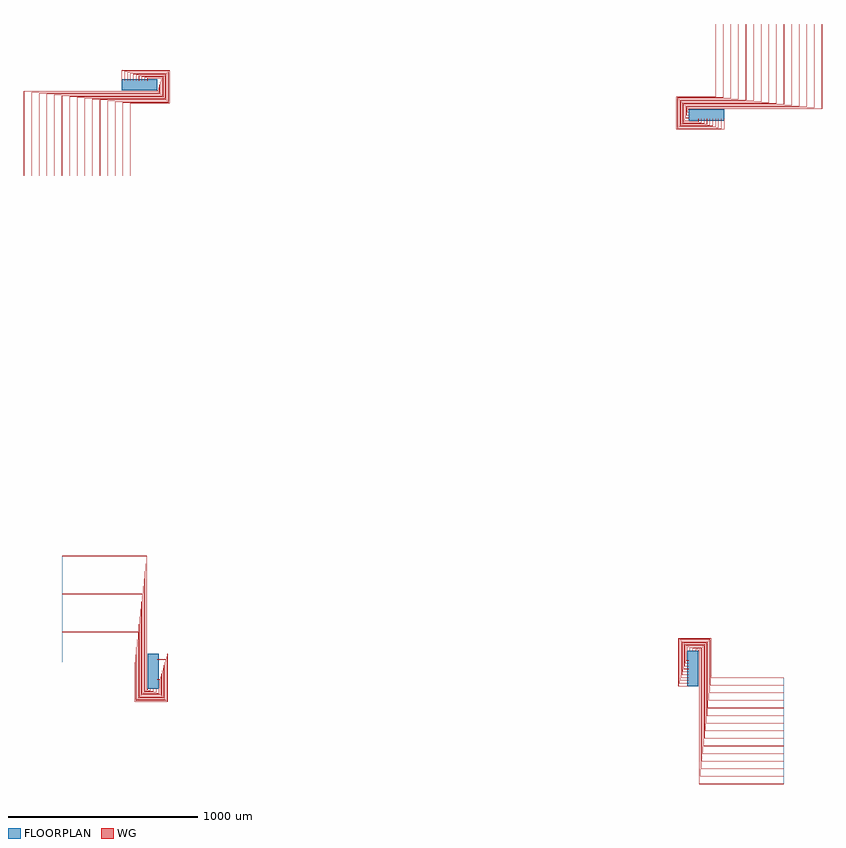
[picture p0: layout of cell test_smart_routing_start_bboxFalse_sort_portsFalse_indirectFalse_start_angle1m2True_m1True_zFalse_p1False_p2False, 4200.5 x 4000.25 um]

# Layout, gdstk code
import gdstk
lib = gdstk.Library(unit=1e-6, precision=1e-09)
def R(c, l, rs):  # rectangles x0, y0, x1, y1
    for r in rs: c.add(gdstk.rectangle(r[:2], r[2:], *l))
def P(c, l, *ps):  # polygons
    for p in ps: c.add(gdstk.Polygon(p, *l))
WG = (1, 0)
FLOORPLAN = (10, 0)

test_smart_routing_start = lib.new_cell('test_smart_routing_start_bboxFalse_sort_portsFalse_indirectFalse_start_angle1m2True_m1True_zFalse_p1False_p2False')
P(test_smart_routing_start, WG, [(45.25,-104.5),(45.25,599.75),(-400,599.75),(-400,600.25),(45.75,600.25),(45.75,-104),(49.75,-104),(49.75,-100),(50.25,-100),(50.25,-104.5)],
  [(40.75,-109),(40.75,559.75),(-400,559.75),(-400,560.25),(41.25,560.25),(41.25,-108.5),(64.75,-108.5),(64.75,-100),(65.25,-100),(65.25,-109)],
  [(36.25,-113.5),(36.25,519.75),(-400,519.75),(-400,520.25),(36.75,520.25),(36.75,-113),(79.75,-113),(79.75,-100),(80.25,-100),(80.25,-113.5)],
  [(31.75,-118),(31.75,479.75),(-400,479.75),(-400,480.25),(32.25,480.25),(32.25,-117.5),(94.75,-117.5),(94.75,-100),(95.25,-100),(95.25,-118)],
  [(27.25,-122.5),(27.25,439.75),(-400,439.75),(-400,440.25),(27.75,440.25),(27.75,-122),(109.75,-122),(109.75,-100),(110.25,-100),(110.25,-122.5)],
  [(22.75,-127),(22.75,399.75),(-400,399.75),(-400,400.25),(23.25,400.25),(23.25,-126.5),(114.25,-126.5),(114.25,-50.25),(100,-50.25),(100,-49.75),(114.75,-49.75),(114.75,-127)],
  [(18.25,-131.5),(18.25,359.75),(-400,359.75),(-400,360.25),(18.75,360.25),(18.75,-131),(118.75,-131),(118.75,-35.25),(100,-35.25),(100,-34.75),(119.25,-34.75),(119.25,-131.5)],
  [(13.75,-136),(13.75,319.75),(-400,319.75),(-400,320.25),(14.25,320.25),(14.25,-135.5),(123.25,-135.5),(123.25,-20.25),(100,-20.25),(100,-19.75),(123.75,-19.75),(123.75,-136)],
  [(9.25,-140.5),(9.25,279.75),(-400,279.75),(-400,280.25),(9.75,280.25),(9.75,-140),(127.75,-140),(127.75,-5.25),(100,-5.25),(100,-4.75),(128.25,-4.75),(128.25,-140.5)],
  [(4.75,-145),(4.75,239.75),(-400,239.75),(-400,240.25),(5.25,240.25),(5.25,-144.5),(132.25,-144.5),(132.25,9.75),(100,9.75),(100,10.25),(132.75,10.25),(132.75,-145)],
  [(0.25,-149.5),(0.25,199.75),(-400,199.75),(-400,200.25),(0.75,200.25),(0.75,-149),(136.75,-149),(136.75,24.75),(100,24.75),(100,25.25),(137.25,25.25),(137.25,-149.5)],
  [(-4.25,-154),(-4.25,159.75),(-400,159.75),(-400,160.25),(-3.75,160.25),(-3.75,-153.5),(141.25,-153.5),(141.25,39.75),(100,39.75),(100,40.25),(141.75,40.25),(141.75,-154)],
  [(-8.75,-158.5),(-8.75,119.75),(-400,119.75),(-400,120.25),(-8.25,120.25),(-8.25,-158),(145.75,-158),(145.75,54.75),(100,54.75),(100,55.25),(146.25,55.25),(146.25,-158.5)],
  [(-13.25,-163),(-13.25,79.75),(-400,79.75),(-400,80.25),(-12.75,80.25),(-12.75,-162.5),(150.25,-162.5),(150.25,69.75),(100,69.75),(100,70.25),(150.75,70.25),(150.75,-163)],
  [(-17.75,-167.5),(-17.75,39.75),(-400,39.75),(-400,40.25),(-17.25,40.25),(-17.25,-167),(154.75,-167),(154.75,84.75),(100,84.75),(100,85.25),(155.25,85.25),(155.25,-167.5)],
  [(-600.25,2600),(-600.25,3045.75),(104,3045.75),(104,3049.75),(100,3049.75),(100,3050.25),(104.5,3050.25),(104.5,3045.25),(-599.75,3045.25),(-599.75,2600)],
  [(-560.25,2600),(-560.25,3041.25),(108.5,3041.25),(108.5,3064.75),(100,3064.75),(100,3065.25),(109,3065.25),(109,3040.75),(-559.75,3040.75),(-559.75,2600)],
  [(-520.25,2600),(-520.25,3036.75),(113,3036.75),(113,3079.75),(100,3079.75),(100,3080.25),(113.5,3080.25),(113.5,3036.25),(-519.75,3036.25),(-519.75,2600)],
  [(-480.25,2600),(-480.25,3032.25),(117.5,3032.25),(117.5,3094.75),(100,3094.75),(100,3095.25),(118,3095.25),(118,3031.75),(-479.75,3031.75),(-479.75,2600)],
  [(-440.25,2600),(-440.25,3027.75),(122,3027.75),(122,3109.75),(100,3109.75),(100,3110.25),(122.5,3110.25),(122.5,3027.25),(-439.75,3027.25),(-439.75,2600)],
  [(-400.25,2600),(-400.25,3023.25),(126.5,3023.25),(126.5,3114.25),(50.25,3114.25),(50.25,3100),(49.75,3100),(49.75,3114.75),(127,3114.75),(127,3022.75),(-399.75,3022.75),(-399.75,2600)],
  [(-360.25,2600),(-360.25,3018.75),(131,3018.75),(131,3118.75),(35.25,3118.75),(35.25,3100),(34.75,3100),(34.75,3119.25),(131.5,3119.25),(131.5,3018.25),(-359.75,3018.25),(-359.75,2600)],
  [(-320.25,2600),(-320.25,3014.25),(135.5,3014.25),(135.5,3123.25),(20.25,3123.25),(20.25,3100),(19.75,3100),(19.75,3123.75),(136,3123.75),(136,3013.75),(-319.75,3013.75),(-319.75,2600)],
  [(-280.25,2600),(-280.25,3009.75),(140,3009.75),(140,3127.75),(5.25,3127.75),(5.25,3100),(4.75,3100),(4.75,3128.25),(140.5,3128.25),(140.5,3009.25),(-279.75,3009.25),(-279.75,2600)],
  [(-240.25,2600),(-240.25,3005.25),(144.5,3005.25),(144.5,3132.25),(-9.75,3132.25),(-9.75,3100),(-10.25,3100),(-10.25,3132.75),(145,3132.75),(145,3004.75),(-239.75,3004.75),(-239.75,2600)],
  [(-200.25,2600),(-200.25,3000.75),(149,3000.75),(149,3136.75),(-24.75,3136.75),(-24.75,3100),(-25.25,3100),(-25.25,3137.25),(149.5,3137.25),(149.5,3000.25),(-199.75,3000.25),(-199.75,2600)],
  [(-160.25,2600),(-160.25,2996.25),(153.5,2996.25),(153.5,3141.25),(-39.75,3141.25),(-39.75,3100),(-40.25,3100),(-40.25,3141.75),(154,3141.75),(154,2995.75),(-159.75,2995.75),(-159.75,2600)],
  [(-120.25,2600),(-120.25,2991.75),(158,2991.75),(158,3145.75),(-54.75,3145.75),(-54.75,3100),(-55.25,3100),(-55.25,3146.25),(158.5,3146.25),(158.5,2991.25),(-119.75,2991.25),(-119.75,2600)],
  [(-80.25,2600),(-80.25,2987.25),(162.5,2987.25),(162.5,3150.25),(-69.75,3150.25),(-69.75,3100),(-70.25,3100),(-70.25,3150.75),(163,3150.75),(163,2986.75),(-79.75,2986.75),(-79.75,2600)],
  [(-40.25,2600),(-40.25,2982.75),(167,2982.75),(167,3154.75),(-84.75,3154.75),(-84.75,3100),(-85.25,3100),(-85.25,3155.25),(167.5,3155.25),(167.5,2982.25),(-39.75,2982.25),(-39.75,2600)],
  [(2954.25,-600.25),(2954.25,104),(2950.25,104),(2950.25,100),(2949.75,100),(2949.75,104.5),(2954.75,104.5),(2954.75,-599.75),(3400,-599.75),(3400,-600.25)],
  [(2958.75,-560.25),(2958.75,108.5),(2935.25,108.5),(2935.25,100),(2934.75,100),(2934.75,109),(2959.25,109),(2959.25,-559.75),(3400,-559.75),(3400,-560.25)],
  [(2963.25,-520.25),(2963.25,113),(2920.25,113),(2920.25,100),(2919.75,100),(2919.75,113.5),(2963.75,113.5),(2963.75,-519.75),(3400,-519.75),(3400,-520.25)],
  [(2967.75,-480.25),(2967.75,117.5),(2905.25,117.5),(2905.25,100),(2904.75,100),(2904.75,118),(2968.25,118),(2968.25,-479.75),(3400,-479.75),(3400,-480.25)],
  [(2972.25,-440.25),(2972.25,122),(2890.25,122),(2890.25,100),(2889.75,100),(2889.75,122.5),(2972.75,122.5),(2972.75,-439.75),(3400,-439.75),(3400,-440.25)],
  [(2976.75,-400.25),(2976.75,126.5),(2885.75,126.5),(2885.75,50.25),(2900,50.25),(2900,49.75),(2885.25,49.75),(2885.25,127),(2977.25,127),(2977.25,-399.75),(3400,-399.75),(3400,-400.25)],
  [(2981.25,-360.25),(2981.25,131),(2881.25,131),(2881.25,35.25),(2900,35.25),(2900,34.75),(2880.75,34.75),(2880.75,131.5),(2981.75,131.5),(2981.75,-359.75),(3400,-359.75),(3400,-360.25)],
  [(2985.75,-320.25),(2985.75,135.5),(2876.75,135.5),(2876.75,20.25),(2900,20.25),(2900,19.75),(2876.25,19.75),(2876.25,136),(2986.25,136),(2986.25,-319.75),(3400,-319.75),(3400,-320.25)],
  [(2990.25,-280.25),(2990.25,140),(2872.25,140),(2872.25,5.25),(2900,5.25),(2900,4.75),(2871.75,4.75),(2871.75,140.5),(2990.75,140.5),(2990.75,-279.75),(3400,-279.75),(3400,-280.25)],
  [(2994.75,-240.25),(2994.75,144.5),(2867.75,144.5),(2867.75,-9.75),(2900,-9.75),(2900,-10.25),(2867.25,-10.25),(2867.25,145),(2995.25,145),(2995.25,-239.75),(3400,-239.75),(3400,-240.25)],
  [(2999.25,-200.25),(2999.25,149),(2863.25,149),(2863.25,-24.75),(2900,-24.75),(2900,-25.25),(2862.75,-25.25),(2862.75,149.5),(2999.75,149.5),(2999.75,-199.75),(3400,-199.75),(3400,-200.25)],
  [(3003.75,-160.25),(3003.75,153.5),(2858.75,153.5),(2858.75,-39.75),(2900,-39.75),(2900,-40.25),(2858.25,-40.25),(2858.25,154),(3004.25,154),(3004.25,-159.75),(3400,-159.75),(3400,-160.25)],
  [(3008.25,-120.25),(3008.25,158),(2854.25,158),(2854.25,-54.75),(2900,-54.75),(2900,-55.25),(2853.75,-55.25),(2853.75,158.5),(3008.75,158.5),(3008.75,-119.75),(3400,-119.75),(3400,-120.25)],
  [(3012.75,-80.25),(3012.75,162.5),(2849.75,162.5),(2849.75,-69.75),(2900,-69.75),(2900,-70.25),(2849.25,-70.25),(2849.25,163),(3013.25,163),(3013.25,-79.75),(3400,-79.75),(3400,-80.25)],
  [(2844.75,-85.25),(2844.75,167.5),(3017.75,167.5),(3017.75,-39.75),(3400,-39.75),(3400,-40.25),(3017.25,-40.25),(3017.25,167),(2845.25,167),(2845.25,-84.75),(2900,-84.75),(2900,-85.25)],
  [(2895.5,2949.75),(2895.5,2954.75),(3599.75,2954.75),(3599.75,3400),(3600.25,3400),(3600.25,2954.25),(2896,2954.25),(2896,2950.25),(2900,2950.25),(2900,2949.75)],
  [(2891,2934.75),(2891,2959.25),(3559.75,2959.25),(3559.75,3400),(3560.25,3400),(3560.25,2958.75),(2891.5,2958.75),(2891.5,2935.25),(2900,2935.25),(2900,2934.75)],
  [(2886.5,2919.75),(2886.5,2963.75),(3519.75,2963.75),(3519.75,3400),(3520.25,3400),(3520.25,2963.25),(2887,2963.25),(2887,2920.25),(2900,2920.25),(2900,2919.75)],
  [(2882,2904.75),(2882,2968.25),(3479.75,2968.25),(3479.75,3400),(3480.25,3400),(3480.25,2967.75),(2882.5,2967.75),(2882.5,2905.25),(2900,2905.25),(2900,2904.75)],
  [(2877.5,2889.75),(2877.5,2972.75),(3439.75,2972.75),(3439.75,3400),(3440.25,3400),(3440.25,2972.25),(2878,2972.25),(2878,2890.25),(2900,2890.25),(2900,2889.75)],
  [(2873,2885.25),(2873,2977.25),(3399.75,2977.25),(3399.75,3400),(3400.25,3400),(3400.25,2976.75),(2873.5,2976.75),(2873.5,2885.75),(2949.75,2885.75),(2949.75,2900),(2950.25,2900),(2950.25,2885.25)],
  [(2868.5,2880.75),(2868.5,2981.75),(3359.75,2981.75),(3359.75,3400),(3360.25,3400),(3360.25,2981.25),(2869,2981.25),(2869,2881.25),(2964.75,2881.25),(2964.75,2900),(2965.25,2900),(2965.25,2880.75)],
  [(2864,2876.25),(2864,2986.25),(3319.75,2986.25),(3319.75,3400),(3320.25,3400),(3320.25,2985.75),(2864.5,2985.75),(2864.5,2876.75),(2979.75,2876.75),(2979.75,2900),(2980.25,2900),(2980.25,2876.25)],
  [(2859.5,2871.75),(2859.5,2990.75),(3279.75,2990.75),(3279.75,3400),(3280.25,3400),(3280.25,2990.25),(2860,2990.25),(2860,2872.25),(2994.75,2872.25),(2994.75,2900),(2995.25,2900),(2995.25,2871.75)],
  [(2855,2867.25),(2855,2995.25),(3239.75,2995.25),(3239.75,3400),(3240.25,3400),(3240.25,2994.75),(2855.5,2994.75),(2855.5,2867.75),(3009.75,2867.75),(3009.75,2900),(3010.25,2900),(3010.25,2867.25)],
  [(2850.5,2862.75),(2850.5,2999.75),(3199.75,2999.75),(3199.75,3400),(3200.25,3400),(3200.25,2999.25),(2851,2999.25),(2851,2863.25),(3024.75,2863.25),(3024.75,2900),(3025.25,2900),(3025.25,2862.75)],
  [(2846,2858.25),(2846,3004.25),(3159.75,3004.25),(3159.75,3400),(3160.25,3400),(3160.25,3003.75),(2846.5,3003.75),(2846.5,2858.75),(3039.75,2858.75),(3039.75,2900),(3040.25,2900),(3040.25,2858.25)],
  [(2841.5,2853.75),(2841.5,3008.75),(3119.75,3008.75),(3119.75,3400),(3120.25,3400),(3120.25,3008.25),(2842,3008.25),(2842,2854.25),(3054.75,2854.25),(3054.75,2900),(3055.25,2900),(3055.25,2853.75)],
  [(2837,2849.25),(2837,3013.25),(3079.75,3013.25),(3079.75,3400),(3080.25,3400),(3080.25,3012.75),(2837.5,3012.75),(2837.5,2849.75),(3069.75,2849.75),(3069.75,2900),(3070.25,2900),(3070.25,2849.25)],
  [(2832.5,2844.75),(2832.5,3017.75),(3039.75,3017.75),(3039.75,3400),(3040.25,3400),(3040.25,3017.25),(2833,3017.25),(2833,2845.25),(3084.75,2845.25),(3084.75,2900),(3085.25,2900),(3085.25,2844.75)])
R(test_smart_routing_start, FLOORPLAN, [(50,-100,110,85), (2890,-85,2950,100), (2900,2890,3085,2950), (-85,3050,100,3110)])
P(test_smart_routing_start, FLOORPLAN, [(-400,40),(-400,600),(-400,600),(-400,40)],
  [(-600,2600),(-600,2600),(-40,2600),(-40,2600)],
  [(3400,-600),(3400,-40),(3400,-40),(3400,-600)],
  [(3040,3400),(3040,3400),(3600,3400),(3600,3400)])

lib.write_gds('test_smart_routing_start_bboxFalse_sort_portsFalse_indirectFalse_start_angle1m2True_m1True_zFalse_p1False_p2False.gds')
